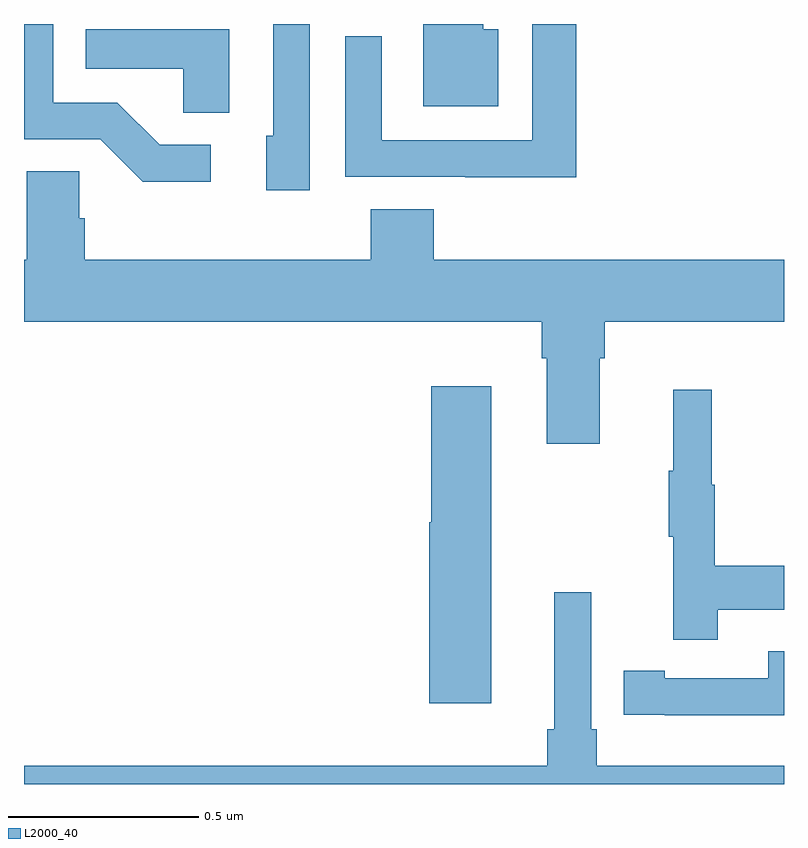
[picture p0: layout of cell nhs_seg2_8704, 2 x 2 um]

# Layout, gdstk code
import gdstk
lib = gdstk.Library(unit=1e-6, precision=1e-09)
def P(c, l, *ps):  # polygons
    for p in ps: c.add(gdstk.Polygon(p, *l))
L2000_40 = (2000, 40)

nhs_seg2_8704 = lib.new_cell('nhs_seg2_8704')
P(nhs_seg2_8704, L2000_40, [(220.752,601.8),(220.656,601.8),(220.656,601.506),(220.637,601.506),(220.637,601.362),(220.752,601.362)],
  [(221.248,601.786),(221.209,601.786),(221.209,601.8),(221.051,601.8),(221.051,601.583),(221.248,601.583)],
  [(221.453,601.8),(221.337,601.8),(221.337,601.494),(220.941,601.494),(220.941,601.768),(220.845,601.768),(220.845,601.398),(221.161,601.398),(221.161,601.397),(221.453,601.397)],
  [(220.492,601.482),(220.357,601.482),(220.246,601.593),(220.077,601.593),(220.077,601.8),(220,601.8),(220,601.497),(220.2,601.497),(220.313,601.385),(220.492,601.385)],
  [(220.54,601.786),(220.162,601.786),(220.162,601.682),(220.419,601.682),(220.419,601.567),(220.54,601.567)],
  [(221.515,600.92),(221.528,600.92),(221.528,601.016),(222,601.016),(222,601.18),(221.078,601.18),(221.078,601.313),(220.913,601.313),(220.913,601.18),(220.16,601.18),(220.16,601.289),(220.146,601.289),(220.146,601.412),(220.007,601.412),(220.007,601.18),(220,601.18),(220,601.016),(221.363,601.016),(221.363,600.92),(221.375,600.92),(221.375,600.696),(221.515,600.696)],
  [(221.23,600.847),(221.072,600.847),(221.072,600.489),(221.066,600.489),(221.066,600.012),(221.23,600.012)],
  [(221.825,600.258),(222,600.258),(222,600.374),(221.818,600.374),(221.818,600.588),(221.81,600.588),(221.81,600.838),(221.708,600.838),(221.708,600.625),(221.697,600.625),(221.697,600.451),(221.708,600.451),(221.708,600.18),(221.825,600.18)],
  [(222,599.848),(221.507,599.848),(221.507,599.944),(221.493,599.944),(221.493,600.304),(221.396,600.304),(221.396,599.944),(221.377,599.944),(221.377,599.848),(220,599.848),(220,599.8),(222,599.8)],
  [(222,600.15),(221.958,600.15),(221.958,600.078),(221.686,600.078),(221.686,600.098),(221.578,600.098),(221.578,599.982),(221.686,599.982),(221.686,599.981),(222,599.981)])

lib.write_gds('nhs_seg2_8704.gds')
